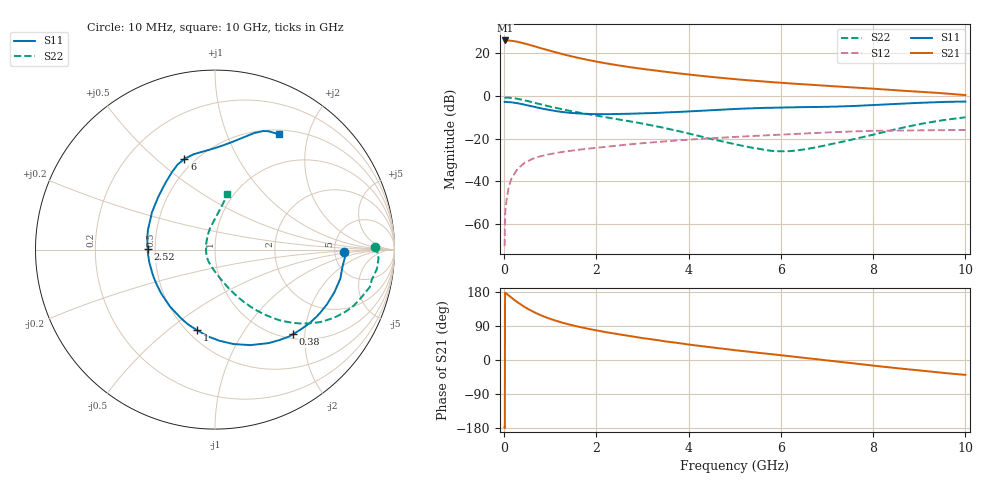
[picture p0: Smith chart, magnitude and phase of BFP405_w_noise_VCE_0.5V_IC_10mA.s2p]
! Infineon Technologies  Discrete & RF Semiconductors
! BFP405
! VCE =  0.5 V,  IC =  10 mA
! Common Emitter S-Parameters:  Jan 2016
# GHz  S  MA  R  50
!  f  S11  S21  S12  S22
! GHz  MAG  ANG  MAG  ANG  MAG  ANG  MAG  ANG
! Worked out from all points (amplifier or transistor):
!   233 points, 10 MHz to 10 GHz, reference 50 ohm
!   highest |S21| = 26.0 dB at 20 MHz (marker M1)
!   |S21| within 3 dB of that: start of sweep to 698 MHz
!   unconditionally stable (mu >= 1): start of sweep to 27.57 MHz; 1.83 GHz to end of sweep
!   at 200 MHz: K = 0.26, MSG = 31.5 dB, |S12| = -37.4 dB
!   at 1.74 GHz: K = 0.97, MSG = 21.1 dB, |S12| = -24.9 dB
!   at 10 GHz: K = 1.56, MAG = 3.8 dB, |S12| = -16.0 dB
!   lowest NFmin = 1.62 dB at 900 MHz
!   S11 on the Smith chart (normalised r, x): 10 MHz: 6.07, -0.31; 380 MHz: 1.09, -1.74; 1 GHz: 0.56, -0.64; 2.52 GHz: 0.45, +0.00; 6 GHz: 0.44, +0.62; 10 GHz: 0.56, +1.56
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0.01  0.7176 -1.0  19.74 -177.5  0.0003 69.3  0.8924 1.1
0.02  0.7271 -2.6  19.86 178.0  0.0016 94.7  0.9044 -0.9
0.05  0.7174 -6.7  19.79 175.6  0.0034 90.5  0.9125 -3.0
0.1  0.7167 -13.1  19.82 170.1  0.007 84.3  0.9086 -6.8
0.15  0.7061 -19.7  19.56 165.4  0.0109 79.9  0.89 -10.7
0.26  0.6781 -33.5  18.8 155.0  0.0173 73.3  0.8609 -17.6
0.38  0.641 -47.3  17.53 144.8  0.0236 67.0  0.8139 -24.4
0.5  0.6009 -60.1  16.23 135.8  0.0288 62.0  0.7613 -30.1
0.6  0.5674 -69.7  15.1 129.1  0.0328 58.0  0.7128 -34.5
0.8  0.5086 -87.2  13.05 117.7  0.0385 52.9  0.6304 -40.8
1  0.4605 -102.5  11.31 108.4  0.0434 48.9  0.5558 -46.0
1.3  0.4131 -122.7  9.283 97.2  0.0492 45.4  0.4733 -51.4
1.68  0.3828 -144.4  7.458 86.0  0.0556 42.5  0.3948 -56.6
2  0.3731 -159.9  6.347 78.1  0.061 40.7  0.3442 -60.4
2.52  0.3756 179.3  5.088 67.1  0.0696 37.9  0.2776 -65.6
3.4  0.4025 152.1  3.764 51.0  0.0843 32.6  0.1839 -76.1
4  0.4323 136.8  3.156 40.8  0.094 28.5  0.1305 -87.8
5.1  0.4979 118.0  2.41 24.7  0.1103 20.7  0.07 -124.8
6  0.5335 108.6  2.021 12.5  0.1236 14.2  0.0503 -176.4
6.8  0.5486 98.1  1.773 1.8  0.1355 7.8  0.0633 138.5
8.4  0.6391 76.5  1.372 -20.1  0.1532 -7.6  0.1562 93.2
10  0.7355 60.8  1.04 -39.2  0.1583 -19.5  0.3149 77.6
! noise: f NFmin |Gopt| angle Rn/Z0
0.9  1.62  0.2  6  0.32
1.8  1.88  0.14  1  0.29
2.4  2  0.12  4  0.31
3  2.03  0.08  20  0.29
4  2.19  0.05  -72  0.28
5  2.56  0.11  -98  0.28
